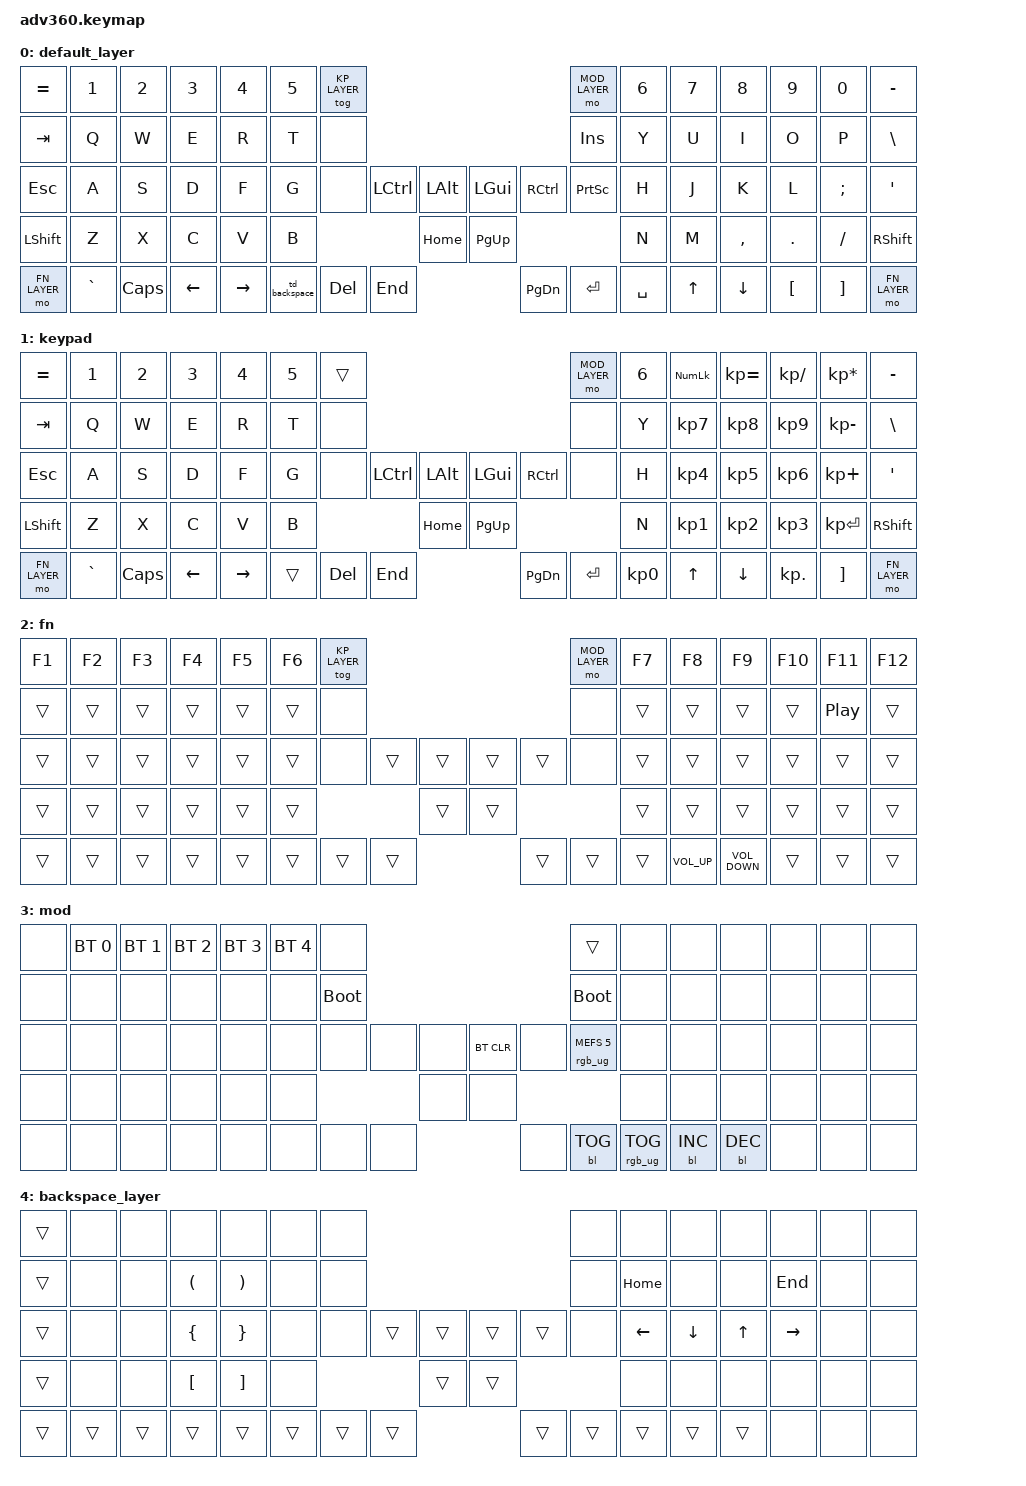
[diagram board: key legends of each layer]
#include <behaviors.dtsi>
#include <dt-bindings/zmk/keys.h>
#include <dt-bindings/zmk/bt.h>
#include <dt-bindings/zmk/rgb.h>
#include <dt-bindings/zmk/backlight.h>

#define KP_LAYER        1
#define FN_LAYER        2
#define MOD_LAYER       3
#define BACKSPACE_LAYER 4

/ {
    behaviors {
      #include "macros.dtsi"

      hm: homerow_mods {
          compatible = "zmk,behavior-hold-tap";
          label = "HOMEROW_MODS";
          #binding-cells = <2>;
          tapping-term-ms = <200>;
          quick_tap_ms = <175>;
          flavor = "tap-preferred";
          bindings = <&kp>, <&kp>;
      };
      td_backspace: tap_dance_backspace {
          compatible = "zmk,behavior-tap-dance";
          label = "TAP_DANCE_BACKSPACE";
          #binding-cells = <0>;
          tapping-term-ms = <200>;
          bindings = <&lt BACKSPACE_LAYER BSPC>, <&kp BSPC>;
      };
    };

  keymap {
    compatible = "zmk,keymap";

    default_layer {
      bindings = <
        &kp EQUAL   &kp N1    &kp N2   &kp N3   &kp N4     &kp N5 &tog KP_LAYER                                                                &mo MOD_LAYER   &kp N6 &kp N7 &kp N8    &kp N9   &kp N0   &kp MINUS
        &kp TAB     &kp Q     &kp W    &kp E    &kp R      &kp T  &none                                                                        &kp INS         &kp Y  &kp U  &kp I     &kp O    &kp P    &kp BSLH
        &kp ESC     &kp A     &kp S    &kp D    &kp F      &kp G  &none                       &kp LCTRL &kp LALT &kp LGUI  &kp RCTRL           &kp PRINTSCREEN &kp H  &kp J  &kp K     &kp L    &kp SEMI &kp SQT
        &kp LSHFT   &kp Z     &kp X    &kp C    &kp V      &kp B                                        &kp HOME &kp PG_UP                                     &kp N  &kp M  &kp COMMA &kp DOT  &kp FSLH &kp RSHFT
        &mo FN_LAYER  &kp GRAVE &kp CAPS &kp LEFT &kp RIGHT                     &td_backspace &kp DEL   &kp END  &kp PG_DN &kp ENTER &kp SPACE                        &kp UP &kp DOWN  &kp LBKT &kp RBKT &mo FN_LAYER
      >;
    };
    keypad {
      bindings = <
        &kp EQUAL     &kp N1    &kp N2   &kp N3   &kp N4     &kp N5 &trans                                                           &mo MOD_LAYER &kp N6 &kp KP_NUM &kp KP_EQUAL &kp KP_DIVIDE &kp KP_MULTIPLY &kp MINUS
        &kp TAB       &kp Q     &kp W    &kp E    &kp R      &kp T  &none                                                            &none         &kp Y  &kp KP_N7  &kp KP_N8    &kp KP_N9     &kp KP_MINUS    &kp BSLH
        &kp ESC       &kp A     &kp S    &kp D    &kp F      &kp G  &none           &kp LCTRL &kp LALT &kp LGUI  &kp RCTRL           &none         &kp H  &kp KP_N4  &kp KP_N5    &kp KP_N6     &kp KP_PLUS     &kp SQT
        &kp LSHFT     &kp Z     &kp X    &kp C    &kp V      &kp B                            &kp HOME &kp PG_UP                                   &kp N  &kp KP_N1  &kp KP_N2    &kp KP_N3     &kp KP_ENTER    &kp RSHFT
        &mo FN_LAYER  &kp GRAVE &kp CAPS &kp LEFT &kp RIGHT                  &trans &kp DEL   &kp END  &kp PG_DN &kp ENTER &kp KP_N0                      &kp UP     &kp DOWN     &kp KP_DOT    &kp RBKT        &mo FN_LAYER
      >;
    };
    fn {
      bindings = <
        &kp F1     &kp F2 &kp F3 &kp F4 &kp F5 &kp F6  &tog KP_LAYER                                          &mo MOD_LAYER &kp F7 &kp F8          &kp F9            &kp F10 &kp F11           &kp F12
        &trans     &trans &trans &trans &trans &trans  &none                                                  &none         &trans &trans          &trans            &trans  &kp C_PLAY_PAUSE  &trans
        &trans     &trans &trans &trans &trans &trans  &none             &trans &trans &trans &trans          &none         &trans &trans          &trans            &trans  &trans            &trans
        &trans     &trans &trans &trans &trans &trans                           &trans &trans                               &trans &trans          &trans            &trans  &trans            &trans
        &trans     &trans &trans &trans &trans                    &trans &trans &trans &trans &trans &trans                        &kp C_VOLUME_UP &kp C_VOLUME_DOWN &trans  &trans            &trans
      >;
    };
    mod {
      bindings = <
        &none &bt BT_SEL 0 &bt BT_SEL 1 &bt BT_SEL 2 &bt BT_SEL 3 &bt BT_SEL 4 &none                                                                     &trans                 &none        &none        &none        &none &none &none
        &none &none        &none        &none        &none        &none        &bootloader                                                               &bootloader            &none        &none        &none        &none &none &none
        &none &none        &none        &none        &none        &none        &none                   &none &none &bt BT_CLR &none                      &rgb_ug RGB_MEFS_CMD 5 &none        &none        &none        &none &none &none
        &none &none        &none        &none        &none        &none                                      &none &none                                                        &none        &none        &none        &none &none &none
        &none &none        &none        &none        &none                                       &none &none &none &none      &bl BL_TOG &rgb_ug RGB_TOG                                     &bl BL_INC   &bl BL_DEC   &none &none &none
      >;
    };
    backspace_layer {
      bindings = <
        &trans     &none  &none  &none     &none     &none  &none                                                   &none &none    &none    &none    &none     &none  &none
        &trans     &none  &none  &kp LPAR  &kp RPAR  &none  &none                                                   &none &kp HOME &none    &none    &kp END   &none  &none
        &trans     &none  &none  &kp LBRC  &kp RBRC  &none  &none              &trans &trans &trans &trans          &none &kp LEFT &kp DOWN &kp UP   &kp RIGHT &none  &none
        &trans     &none  &none  &kp LBKT  &kp RBKT  &none                            &trans &trans                       &none    &none    &none    &none     &none  &none
        &trans     &trans &trans &trans    &trans                       &trans &trans &trans &trans &trans &trans                  &trans   &trans   &none     &none  &none
      >;
    };
  };
};
